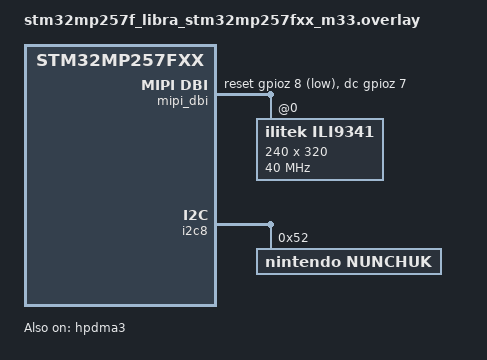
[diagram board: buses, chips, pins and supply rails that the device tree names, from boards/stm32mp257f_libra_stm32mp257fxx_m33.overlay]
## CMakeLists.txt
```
# SPDX-License-Identifier: Apache-2.0

cmake_minimum_required(VERSION 3.28.0)
find_package(Zephyr REQUIRED HINTS $ENV{ZEPHYR_BASE})
project(demo_display)

FILE(GLOB app_sources src/*.c)
target_sources(app PRIVATE ${app_sources})
```

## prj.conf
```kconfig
# --- Base ---
CONFIG_PICOLIBC=y
# CONFIG_LOG=y

# --- I2C + LED (PCA9633) ---
CONFIG_I2C=y
CONFIG_LED=y
CONFIG_PCA9633=y

# --- Écran SPI (ILI9341) + DMA ---
CONFIG_SPI=y
CONFIG_SPI_STM32_DMA=y
CONFIG_DMA_STM32U5=y
CONFIG_DISPLAY=y


# --- LVGL ---
CONFIG_LVGL=y
CONFIG_LV_USE_LABEL=y
CONFIG_LV_USE_BAR=y
CONFIG_LV_FONT_MONTSERRAT_20=y
CONFIG_LV_FONT_MONTSERRAT_18=y
CONFIG_LV_FONT_MONTSERRAT_14=y
CONFIG_LV_USE_BUTTON=y
CONFIG_LV_COLOR_16_SWAP=y

# --- LVGL piles ---
CONFIG_LV_Z_MEM_POOL_SIZE=32768
CONFIG_LV_Z_FLUSH_THREAD=y
CONFIG_LV_Z_FLUSH_THREAD_STACK_SIZE=8192
CONFIG_LV_Z_BITS_PER_PIXEL=16
CONFIG_LV_Z_DOUBLE_VDB=y
CONFIG_LV_Z_VDB_SIZE=8

# Piles élargies (nécessaire, sans ça crash silencieux avant boot)
CONFIG_MAIN_STACK_SIZE=8192
CONFIG_SYSTEM_WORKQUEUE_STACK_SIZE=8192
CONFIG_HW_STACK_PROTECTION=y
CONFIG_THREAD_STACK_INFO=y

# --- GPIO (fan) — à garder seulement si utilisé ---
CONFIG_GPIO=y

# --- Nunchuk ---
CONFIG_INPUT=y
CONFIG_INPUT_LOG_LEVEL_OFF=y
CONFIG_INPUT_NUNCHUK=y
CONFIG_INPUT_NUNCHUK_ACCELERATION=y

# CONFIG_THREAD_ANALYZER=y
# CONFIG_THREAD_ANALYZER_USE_PRINTK=y
# CONFIG_THREAD_ANALYZER_AUTO=y
```

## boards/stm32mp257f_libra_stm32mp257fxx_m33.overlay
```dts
/*
 * Copyright (C) 2025 PHYTEC Messtechnik GmbH
 * Authors: Hong-Ly Ky <h.ky@phytec.fr>
 *          Christophe Parant <c.parant@phytec.fr>
 *          Nicolas Raimundo <n.raimundo@phytec.fr>
 */
 
#include <zephyr/dt-bindings/display/panel.h>
#include <zephyr/dt-bindings/input/input-event-codes.h>
#include <zephyr/dt-bindings/dma/stm32_dma.h>



/ {
	aliases {
 		nunchuk0 = &nunchuk;

 	};
 	
 	chosen {
 		zephyr,display=&ili9341;
 	};
 	
	mipi_dbi {
		compatible = "zephyr,mipi-dbi-spi";
		dc-gpios = <&gpioz 7 GPIO_ACTIVE_HIGH>;
		reset-gpios = <&gpioz 8 GPIO_ACTIVE_LOW>;
		write-only;
		#address-cells = <1>;
		#size-cells = <0>;
		spi-dev = <&spi2>;

		ili9341: ili9341@0 {
		    compatible = "ilitek,ili9341";
		    mipi-max-frequency = <40000000>;
		    reg = <0>;
		    width = <240>;
		    height = <320>;
		    rotation = <180>;
		    pixel-format = <PANEL_PIXEL_FORMAT_RGB_565>;
		    h-mirror;
		};
	};
	
	soc {
	
		hpdma3: hpdma@40420000 {
			compatible = "st,stm32u5-dma";
			#dma-cells = <3>;
			reg = <0x40420000 0x1000>;
			clocks = <&rcc STM32_CLOCK(HPDMA3, 1)>;
			interrupts = <65 0>, <66 0>, <67 0>, <68 0>, <69 0>, <70 0>, <71 0>, <72 0>,
			<73 0>, <74 0>, <75 0>, <76 0>, <77 0>, <78 0>, <79 0>, <80 0>;
			dma-channels = <16>;
			dma-requests = <184>;
			status = "okay";
		};

	};
};

&i2c8 {
	nunchuk: joystick@52 {
		compatible = "nintendo,nunchuk";
		reg = <0x52>;
	};
};

&spi2 {
    dmas = <&hpdma3 0 51 (STM32_DMA_PERIPH_RX | STM32_DMA_PRIORITY_MEDIUM)>,
           <&hpdma3 1 52 (STM32_DMA_PERIPH_TX | STM32_DMA_PRIORITY_MEDIUM)>;
    dma-names = "rx", "tx";
};
```

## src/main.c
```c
#include "display.h"
#include <zephyr/kernel.h>

int main(){
    display();
}
 
```

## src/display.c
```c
#include <zephyr/logging/log.h>
LOG_MODULE_REGISTER(sample, LOG_LEVEL_INF);

#include <zephyr/kernel.h>
#include <zephyr/device.h>
#include <zephyr/drivers/display.h>
#include <zephyr/pm/device_runtime.h>
#include <zephyr/sys/byteorder.h>
#include <zephyr/drivers/led.h>

#include "display.h"
#include "nunchuk_2.h"
#include "show_hour.h"

static void nunchuk_pointer_read(lv_indev_t *indev, lv_indev_data_t *data);
static void start_btn_cb(lv_event_t *e);
static void scroll_left_cb(lv_event_t *e);
static void scroll_right_cb(lv_event_t *e);
static void hue_canvas_cb(lv_event_t *e);
static void edit_btn_cb(lv_event_t *e);
static void reboot_btn_cb(lv_event_t *e);

static const struct device *display_dev;
static const struct device *rgb;
static struct display_capabilities caps;
static struct cursor_position_t cursor_pos = {0,0,false,INIT_CURSOR_COLOR};
static struct state_button_t state_btn = {0,0};
static struct state_button_t previous_state_btn = {0,0};
static enum state_t state = INIT;
static enum state_t previous_state = SHOW_HOUR;

static lv_obj_t *hue_canvas;
static lv_color_t canvas_buf[BAR_W * BAR_H];

static lv_obj_t *screen;
static lv_obj_t *cursor;
static lv_indev_t *nunchuk_indev;
static lv_obj_t *left;
static lv_obj_t *right;

static lv_obj_t *page_init;
static lv_obj_t *page_hour;
static lv_obj_t *label_hour1;
static lv_obj_t *label_hour2;
static lv_obj_t *page_rgb;
static lv_obj_t *page_ctrl_a35;
static lv_obj_t *page_reboot;
static lv_obj_t *current_page;

int init_display(){
    display_dev = DEVICE_DT_GET(DT_CHOSEN(zephyr_display));

    if (!device_is_ready(display_dev)) {
        LOG_ERR("Device %s not found. Aborting sample.", display_dev->name);
        return 1;
    }

    display_get_capabilities(display_dev, &caps);
    init_i2c();
    return 0;
}

int init_i2c(){
    rgb = DEVICE_DT_GET(DT_ALIAS(rgb_led0));

    if (!device_is_ready(rgb)) {
        printk("PCA9633 not ready\n");
        return 1;
    }

    return 0;
}

int init_screen(){
    int check_display = init_display();

    if(check_display){
        return 1;
    }

    screen = lv_scr_act();
    lv_obj_clean(screen);
    reset_show_hour();

/// ----------- init cursor and nunchuk ------------
  
    static bool input_created = false;
    if(!input_created){
        cursor = lv_obj_create(screen);
        lv_obj_set_size(cursor,CURSOR_SIZE,CURSOR_SIZE);
        lv_obj_set_style_bg_color(cursor,lv_color_hex(cursor_pos.color),LV_PART_MAIN);
        lv_obj_set_style_translate_x(cursor,-CURSOR_SIZE/2,LV_PART_MAIN);
        lv_obj_set_style_translate_y(cursor,-CURSOR_SIZE/2,LV_PART_MAIN);
        lv_obj_clear_flag(cursor,LV_OBJ_FLAG_CLICKABLE);

        nunchuk_indev = lv_indev_create();
        lv_indev_set_type(nunchuk_indev,LV_INDEV_TYPE_POINTER);
        lv_indev_set_read_cb(nunchuk_indev,nunchuk_pointer_read);
        lv_indev_set_cursor(nunchuk_indev,cursor);

        input_created = true;
    }

/// ----------- init of page_init ------------

    page_init = lv_obj_create(screen);
    lv_obj_set_size(page_init, lv_pct(100), lv_pct(100));
    lv_obj_center(page_init);
    lv_obj_set_style_bg_opa(page_init, LV_OPA_TRANSP, LV_PART_MAIN);
    lv_obj_clear_flag(page_init, LV_OBJ_FLAG_SCROLLABLE);

    lv_obj_t *label_init1 = lv_label_create(page_init);
    lv_obj_t *label_init2 = lv_label_create(page_init);
    lv_obj_t *btn_init = lv_btn_create(page_init);

    lv_obj_set_style_text_font(label_init1,&lv_font_montserrat_18,LV_PART_MAIN);
    lv_label_set_text(label_init1,"PHYTEC FRANCE");
    lv_obj_align(label_init1,LV_ALIGN_CENTER,0,-50);

    lv_obj_set_style_text_font(label_init2,&lv_font_montserrat_14,LV_PART_MAIN);
    lv_label_set_text(label_init2,"with ZEPHYR");
    lv_obj_align(label_init2,LV_ALIGN_CENTER,0,-25);

    lv_obj_t *label_btn = lv_label_create(btn_init);
    lv_label_set_text(label_btn,"Start");
    lv_obj_center(label_btn);

    lv_obj_align(btn_init,LV_ALIGN_CENTER,BTN_START_X,BTN_START_Y);
    lv_obj_set_size(btn_init,BTN_START_LENGTH,BTN_START_WIDTH);
    lv_obj_set_style_bg_color(btn_init,lv_color_hex(BTN_COLOR),LV_PART_MAIN);
    lv_obj_add_event_cb(btn_init,start_btn_cb,LV_EVENT_CLICKED,NULL);

/// ----------- init of page_hour ------------

    page_hour = lv_obj_create(screen);
    lv_obj_set_size(page_hour, lv_pct(100), lv_pct(100));
    lv_obj_center(page_hour);
    lv_obj_set_style_bg_opa(page_hour, LV_OPA_TRANSP, LV_PART_MAIN);
    lv_obj_clear_flag(page_hour, LV_OBJ_FLAG_SCROLLABLE);

    label_hour1 = lv_label_create(page_hour);
    label_hour2 = lv_label_create(page_hour);

    lv_obj_set_style_text_font(label_hour1,&lv_font_montserrat_20,LV_PART_MAIN);
    lv_obj_set_style_text_font(label_hour2,&lv_font_montserrat_14,LV_PART_MAIN);

    lv_label_set_text(label_hour1,"HOUR");
    lv_label_set_text(label_hour2,"DAY");

    lv_obj_align(label_hour1,LV_ALIGN_CENTER,0,-75);
    lv_obj_align(label_hour2,LV_ALIGN_CENTER,0,-25);

    lv_obj_t *btn_edit = lv_btn_create(page_hour);

    lv_obj_t *label_btn_edit = lv_label_create(btn_edit);
    lv_label_set_text(label_btn_edit,"EDIT");
    lv_obj_center(label_btn_edit);

    lv_obj_align(btn_edit,LV_ALIGN_CENTER,BTN_START_X,BTN_START_Y);
    lv_obj_set_size(btn_edit,BTN_START_LENGTH,BTN_START_WIDTH);
    lv_obj_set_style_bg_color(btn_edit,lv_color_hex(BTN_COLOR),LV_PART_MAIN);
    lv_obj_add_event_cb(btn_edit,edit_btn_cb,LV_EVENT_CLICKED,NULL);

/// ----------- init of page_rgb ------------

    page_rgb = lv_obj_create(screen);
    lv_obj_set_size(page_rgb, lv_pct(100), lv_pct(100));
    lv_obj_center(page_rgb);
    lv_obj_set_style_bg_opa(page_rgb, LV_OPA_TRANSP, LV_PART_MAIN);
    lv_obj_clear_flag(page_rgb, LV_OBJ_FLAG_SCROLLABLE);

    lv_obj_t *label_rgb1 = lv_label_create(page_rgb);
    lv_obj_t *label_rgb2 = lv_label_create(page_rgb);

    lv_label_set_text(label_rgb1,"RGB LED I2C");
    lv_label_set_text(label_rgb2,"PICK-COLOR");

    lv_obj_align(label_rgb1,LV_ALIGN_CENTER,0,-50);
    lv_obj_align(label_rgb2,LV_ALIGN_CENTER,0,50);

    hue_canvas = lv_canvas_create(page_rgb);
    lv_canvas_set_buffer(hue_canvas,canvas_buf,BAR_W,BAR_H,LV_COLOR_FORMAT_RGB565);
    lv_obj_align(hue_canvas,LV_ALIGN_CENTER,0,0);
    lv_obj_add_flag(hue_canvas,LV_OBJ_FLAG_CLICKABLE);
    lv_obj_add_event_cb(hue_canvas,hue_canvas_cb,LV_EVENT_PRESSING,NULL);

    for(int x = 0; x < BAR_W; x++){
        uint16_t pos = (uint16_t)((uint32_t)x * 1536 / BAR_W);

        uint8_t r,g,b;
        hue_to_rgb(pos,&r,&g,&b);

        lv_color_t c = lv_color_make(r,g,b);

        for(int y = 0; y < BAR_H; y++){
            lv_canvas_set_px(hue_canvas,x,y,c,LV_OPA_COVER);
        }
    }

/// ----------- init of page_ctrl_a35 ------------

    page_ctrl_a35 = lv_obj_create(screen);
    lv_obj_set_size(page_ctrl_a35, lv_pct(100), lv_pct(100));
    lv_obj_center(page_ctrl_a35);
    lv_obj_set_style_bg_opa(page_ctrl_a35, LV_OPA_TRANSP, LV_PART_MAIN);
    lv_obj_clear_flag(page_ctrl_a35, LV_OBJ_FLAG_SCROLLABLE);

    lv_obj_t *label_ctrl_a35_1 = lv_label_create(page_ctrl_a35);
    lv_obj_t *label_ctrl_a35_2 = lv_label_create(page_ctrl_a35);

    lv_label_set_text(label_ctrl_a35_1,"A35");
    lv_label_set_text(label_ctrl_a35_2,"BOOT");

    lv_obj_align(label_ctrl_a35_1,LV_ALIGN_CENTER,0,-50);
    lv_obj_align(label_ctrl_a35_2,LV_ALIGN_CENTER,0,-25);

/// ----------- init of page_reboot ------------

    page_reboot = lv_obj_create(screen);
    lv_obj_set_size(page_reboot, lv_pct(100), lv_pct(100));
    lv_obj_center(page_reboot);
    lv_obj_set_style_bg_opa(page_reboot, LV_OPA_TRANSP, LV_PART_MAIN);
    lv_obj_clear_flag(page_reboot, LV_OBJ_FLAG_SCROLLABLE);

    lv_obj_t *label_ctrl_reboot1 = lv_label_create(page_reboot);
    lv_obj_t *label_ctrl_reboot2 = lv_label_create(page_reboot);
    lv_obj_t *btn_reboot = lv_btn_create(page_reboot);


    lv_label_set_text(label_ctrl_reboot1,"M33");
    lv_label_set_text(label_ctrl_reboot2,"REBOOT");

    lv_obj_align(label_ctrl_reboot1,LV_ALIGN_CENTER,0,-50);
    lv_obj_align(label_ctrl_reboot2,LV_ALIGN_CENTER,0,-25);

    lv_obj_t *label_btn_reboot = lv_label_create(btn_reboot);
    lv_label_set_text(label_btn_reboot,"REBOOT");
    lv_obj_center(label_btn_reboot);

    lv_obj_align(btn_reboot,LV_ALIGN_CENTER,BTN_START_X,BTN_START_Y);
    lv_obj_set_size(btn_reboot,BTN_START_LENGTH,BTN_START_WIDTH);
    lv_obj_set_style_bg_color(btn_reboot,lv_color_hex(BTN_COLOR),LV_PART_MAIN);
    lv_obj_add_event_cb(btn_reboot,reboot_btn_cb,LV_EVENT_CLICKED,NULL);

/// ----------- init scroll ------------

    left = lv_btn_create(screen);
    lv_obj_t *label_left = lv_label_create(left);
    lv_label_set_text(label_left,"<");
    lv_obj_center(label_left);
    lv_obj_align(left,LV_ALIGN_CENTER,(-caps.x_resolution+BTN_SCROLL_SIZE+BTN_SCROLL_BORDER_SIZE)/2,(caps.y_resolution-BTN_SCROLL_SIZE-BTN_SCROLL_BORDER_SIZE)/2);
    lv_obj_set_size(left,BTN_SCROLL_SIZE,BTN_SCROLL_SIZE);
    lv_obj_set_style_bg_color(left,lv_color_hex(BTN_COLOR),LV_PART_MAIN);
    lv_obj_add_event_cb(left,scroll_left_cb,LV_EVENT_CLICKED,NULL);

    right = lv_btn_create(screen);
    lv_obj_t *label_right = lv_label_create(right);
    lv_label_set_text(label_right,">");
    lv_obj_center(label_right);
    lv_obj_align(right,LV_ALIGN_CENTER,(caps.x_resolution-BTN_SCROLL_SIZE-BTN_SCROLL_BORDER_SIZE)/2,(caps.y_resolution-BTN_SCROLL_SIZE-BTN_SCROLL_BORDER_SIZE)/2);
    lv_obj_set_size(right,BTN_SCROLL_SIZE,BTN_SCROLL_SIZE);
    lv_obj_set_style_bg_color(right,lv_color_hex(BTN_COLOR),LV_PART_MAIN);
    lv_obj_add_event_cb(right,scroll_right_cb,LV_EVENT_CLICKED,NULL);

/// ----------- hiding all widgets ------------

    lv_obj_add_flag(page_hour, LV_OBJ_FLAG_HIDDEN);
    lv_obj_add_flag(page_rgb, LV_OBJ_FLAG_HIDDEN);
    lv_obj_add_flag(page_ctrl_a35, LV_OBJ_FLAG_HIDDEN);
    lv_obj_add_flag(page_reboot, LV_OBJ_FLAG_HIDDEN);
    lv_obj_add_flag(left, LV_OBJ_FLAG_HIDDEN);
    lv_obj_add_flag(right, LV_OBJ_FLAG_HIDDEN);


    current_page=page_init;

    lv_obj_move_foreground(cursor);

/// ----------- end of init ------------

    display_clear(display_dev);
    lv_timer_handler();
    display_blanking_off(display_dev);

    return 0;
}

static void set_active_page(lv_obj_t *new_page){
    int64_t t0 = k_uptime_get();

    if (current_page) {
        lv_obj_add_flag(current_page, LV_OBJ_FLAG_HIDDEN);
    }
    lv_obj_clear_flag(new_page, LV_OBJ_FLAG_HIDDEN);

    current_page = new_page;

    if (new_page == page_init) {
        lv_obj_add_flag(left, LV_OBJ_FLAG_HIDDEN);
        lv_obj_add_flag(right, LV_OBJ_FLAG_HIDDEN);
    } else {
        lv_obj_clear_flag(left, LV_OBJ_FLAG_HIDDEN);
        lv_obj_clear_flag(right, LV_OBJ_FLAG_HIDDEN);
    }


    lv_obj_move_foreground(cursor);
    lv_timer_handler();
    printk("time_handler %lld ms\n", k_uptime_get() - t0);

}

void set_i2c_rgb_led(int screen_x){

    lv_area_t area;
    lv_obj_get_coords(hue_canvas,&area);

    int x = screen_x - area.x1;

    if(x < 0){
        x = 0;
    }

    if(x >= BAR_W){
        x = BAR_W - 1;
    }

    uint16_t pos_x = (uint16_t)(((uint32_t)x * 1536) / BAR_W);

    uint8_t r,g,b;
    hue_to_rgb(pos_x,&r,&g,&b);

    led_set_brightness(rgb,RED_LED,r/2.55);
    led_set_brightness(rgb,GREEN_LED,g/2.55);
    led_set_brightness(rgb,BLUE_LED,b/2.55);

}

void fill_hue_bar(uint16_t *buf,int width,int height){
    for(int x = 0; x < width; x++){
        uint16_t pos = (uint16_t)((uint32_t)x * 1536 / width);

        uint8_t r,g,b;
        hue_to_rgb(pos,&r,&g,&b);

        uint16_t color565 = ((r & 0xF8) << 8) | ((g & 0xFC) << 3) | (b >> 3);

        for(int y = 0; y < height; y++){
            buf[y*width+x] = color565;
        }
    }
}

void hue_to_rgb(uint16_t pos,uint8_t *r,uint8_t *g,uint8_t *b){
    uint16_t segment = pos / 256;
    uint8_t step = pos % 256;

    switch(segment){
        case 0: *r = 255;     *g = step;      *b = 0;        break;
        case 1: *r = 255-step;*g = 255;       *b = 0;        break;
        case 2: *r = 0;       *g = 255;       *b = step;     break;
        case 3: *r = 0;       *g = 255-step;  *b = 255;      break;
        case 4: *r = step;    *g = 0;         *b = 255;      break;
        case 5: *r = 255;     *g = 0;         *b = 255-step; break;
    }
}

void update_cursor_position(struct cursor_position_t *actual_pos){

    struct nunchuk_data_t actual_nunchuk = read_nunchuk();

    if(actual_pos->gyro){
        if(!(MIN_DEADZONE_ACCELEROMETER<actual_nunchuk.accel_x && actual_nunchuk.accel_x<=MAX_DEADZONE_ACCELEROMETER)){
            actual_pos->x += (actual_nunchuk.accel_x-ZEROING_POS_ACC)/RESCALING_ACCELEROMETER;
        }

        if(!(MIN_DEADZONE_ACCELEROMETER<actual_nunchuk.accel_y && actual_nunchuk.accel_y<=MAX_DEADZONE_ACCELEROMETER)){
            actual_pos->y -= (actual_nunchuk.accel_y-ZEROING_POS_ACC)/RESCALING_ACCELEROMETER;
        }
    }else{
        if(!(MIN_DEADZONE_JOYSTICK<actual_nunchuk.joystick_x && actual_nunchuk.joystick_x<=MAX_DEADZONE_JOYSTICK)){
            actual_pos->x += (actual_nunchuk.joystick_x-ZEROING_POS)/RESCALING_JOYSTICK;
        }

        if(!(MIN_DEADZONE_JOYSTICK<actual_nunchuk.joystick_y && actual_nunchuk.joystick_y<=MAX_DEADZONE_JOYSTICK)){
            actual_pos->y -= (actual_nunchuk.joystick_y-ZEROING_POS)/RESCALING_JOYSTICK;
        }
    }

    if(actual_pos->x < -caps.x_resolution/2){
        actual_pos->x = -caps.x_resolution/2;
    }else if(actual_pos->x >= caps.x_resolution/2){
        actual_pos->x = caps.x_resolution/2-1;
    }

    if(actual_pos->y < -caps.y_resolution/2){
        actual_pos->y = -caps.y_resolution/2;
    }else if(actual_pos->y >= caps.y_resolution/2){
        actual_pos->y = caps.y_resolution/2-1;
    }

    state_btn = (struct state_button_t){
        .c = actual_nunchuk.btn_c,
        .z = actual_nunchuk.btn_z
    };

    if(state_btn.c && !previous_state_btn.c){
        actual_pos->gyro = !actual_pos->gyro;
        actual_pos->color = actual_pos->color ^ SWITCH_CURSOR_COLOR;
        lv_obj_set_style_bg_color(cursor, lv_color_hex(actual_pos->color), LV_PART_MAIN);
    }
    previous_state_btn = state_btn;
}

static void nunchuk_pointer_read(lv_indev_t *indev,lv_indev_data_t *data){
    data->point.x = cursor_pos.x + caps.x_resolution/2;
    data->point.y = cursor_pos.y + caps.y_resolution/2;
    data->state = state_btn.z ? LV_INDEV_STATE_PRESSED : LV_INDEV_STATE_RELEASED;
}

bool checkEntry(){
    if(state==previous_state){
        return false;
    }else{
        return true;
    }
}

int display(){
    static int64_t time_now;
    static int64_t time_start;
    static bool entry = true;
    static bool time_defined = false;
    static bool time_started = false;
    while(1){
        time_now = k_uptime_get();
        entry = checkEntry();
        previous_state = state;

        switch(state){
            case INIT:
                if(entry){
                    if(init_screen()){
                        return 1;
                    }
                    set_active_page(page_init);
                }
            break;

            case SHOW_HOUR_INIT:
                if(entry){
                    printk("hehe");
                    time_defined=false;
                    time_started=false;
                    lv_obj_add_flag(left, LV_OBJ_FLAG_HIDDEN);
                    lv_obj_add_flag(right, LV_OBJ_FLAG_HIDDEN);
                    init_info_show_hour(screen,current_page,&time_defined);
                }
                if(time_defined){
                    state=SHOW_HOUR;
                }
            break;

            case SHOW_HOUR:
                if(entry){
                    set_active_page(page_hour);
                }
            break;

            case RGB_LED:
                if(entry){
                    set_active_page(page_rgb);
                }
            break;

            case CTRL_A35:
                if(entry){
                    set_active_page(page_ctrl_a35);
                }
            break;

            case REBOOT_M33:
                if(entry){
                    set_active_page(page_reboot);
                }
            break;

            default:
            break;
            
        }

        if(time_defined && !time_started){
            time_start = time_now;
            time_started = true;
            set_show_hour(label_hour1,label_hour2);
        }

        if(time_defined && time_now-time_start>=60000){
            update_show_hour(label_hour1,label_hour2);
            time_start = time_now;
        }
        update_cursor_position(&cursor_pos);
        lv_timer_handler();        

        k_msleep(5);
    }
}

static void start_btn_cb(lv_event_t *e){
    state = SHOW_HOUR_INIT;
}

static void reboot_btn_cb(lv_event_t *e){
    state = INIT;
}

static void edit_btn_cb(lv_event_t *e){
    state = SHOW_HOUR_INIT;
}

static void scroll_left_cb(lv_event_t *e){
    switch(state){
        case SHOW_HOUR: state = REBOOT_M33; break;
        case RGB_LED:   state = SHOW_HOUR;  break;
        case CTRL_A35:  state = RGB_LED;    break;
        case REBOOT_M33:state = CTRL_A35;   break;
        default: break;
    }
}

static void scroll_right_cb(lv_event_t *e){
    switch(state){
        case SHOW_HOUR: state = RGB_LED;    break;
        case RGB_LED:   state = CTRL_A35;   break;
        case CTRL_A35:  state = REBOOT_M33; break;
        case REBOOT_M33:state = SHOW_HOUR;  break;
        default: break;
    }
}

static void hue_canvas_cb(lv_event_t *e){
    lv_point_t p;
    lv_indev_t *indev = lv_indev_active();

    if(indev == NULL){
        return;
    }

    lv_indev_get_point(indev,&p);
    set_i2c_rgb_led(p.x);
}
```

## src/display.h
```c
#include <zephyr/kernel.h>

#include <lvgl.h>

#define MIN_DEADZONE_JOYSTICK 110
#define MAX_DEADZONE_JOYSTICK 140

#define MIN_DEADZONE_ACCELEROMETER 448
#define MAX_DEADZONE_ACCELEROMETER 576

#define ZEROING_POS 130
#define ZEROING_POS_ACC 512
#define RESCALING_JOYSTICK 24
#define RESCALING_ACCELEROMETER 32

#define CURSOR_SIZE 10
#define BTN_START_X 0
#define BTN_START_Y 25
#define BTN_START_WIDTH 50
#define BTN_START_LENGTH 100
#define BTN_SCROLL_SIZE 50
#define BTN_SCROLL_BORDER_SIZE 5

#define BTN_COLOR 0x0000FF 
#define INIT_CURSOR_COLOR 0xFF0010
#define BTN_PRESSED_COLOR 0xBA0000
#define SWITCH_CURSOR_COLOR 0xFFFF00

#define BAR_W 180
#define BAR_H 60

#define RED_LED   0
#define GREEN_LED 1
#define BLUE_LED  2

struct cursor_position_t {
    int x;
    int y;
    bool gyro;
    uint32_t color;
};

struct state_button_t {
    bool c;
    bool z;
};

enum state_t {
    INIT,
    SHOW_HOUR,
    SHOW_HOUR_INIT,
    RGB_LED,
    CTRL_A35,
    REBOOT_M33
};

int display(void);
int init_screen(void);
int init_i2c(void);
bool checkEntry(void);

void update_cursor_position(struct cursor_position_t *actual_pos);
void hue_to_rgb(uint16_t pos, uint8_t *r, uint8_t *g, uint8_t *b);
```

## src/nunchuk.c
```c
// #include <zephyr/kernel.h>
// #include <zephyr/device.h>
// #include <zephyr/input/input_nunchuk.h>
// #include <zephyr/drivers/i2c.h>

// #include "nunchuk.h"

// const struct device *i2c_bus = DEVICE_DT_GET(DT_NODELABEL(i2c8));

// bool init_nunchuk(){
//     uint8_t init_seq_1[2] = {0xf0, 0x55};
//     uint8_t init_seq_2[2] = {0xfb, 0x00};
//     int ret;

//     if (!device_is_ready(i2c_bus)) {
//         printk("Device i2c not found. Aborting sample.");
//         return false;
//     }

//     if (!device_is_ready(i2c_bus)) {
//         printk("Device i2c not found. Aborting sample.");
//         return false;
//     }

//     ret = i2c_write(i2c_bus, init_seq_1, sizeof(init_seq_1), NUNCHUK_ADRESS);
//     if (ret < 0) {
//         printk("I2C write failed.\n");
//         return false;
//     }

//     k_msleep(1);

//     ret = i2c_write(i2c_bus, init_seq_2, sizeof(init_seq_2), NUNCHUK_ADRESS);
//     if (ret < 0) {
//         printk("I2C write failed.\n");
//         return false;
//     }
//     printk("Init OK");
//     return true;
// }

// struct nunchuk_data_t read_nunchuk(){
//     uint8_t value = 0;
//     uint8_t buffer[6];
//     bool z_pressed;
//     bool c_pressed;
//     struct nunchuk_data_t nunchuk_input;

//     i2c_write(i2c_bus, &value, 1, NUNCHUK_ADRESS);

//     k_msleep(10);

//     i2c_read(i2c_bus, buffer, 6, NUNCHUK_ADRESS);

//     z_pressed = buffer[INPUT_NUNCHUK_BTN_C_Z] & 1;
//     c_pressed = buffer[INPUT_NUNCHUK_BTN_C_Z] & 2;

//     // printk("Z : %d\n", z_pressed);
//     // printk("C : %d\n", c_pressed);
//     // printk("X joystick: %d\n",buffer[INPUT_NUNCHUK_STICK_X]);
//     // printk("Y joystick: %d\n\n",buffer[INPUT_NUNCHUK_STICK_Y]);
//     // printk("ACC X: %d\n\n",buffer[INPUT_NUNCHUK_ACC_X]);
//     // printk("ACC Y: %d\n\n",buffer[INPUT_NUNCHUK_ACC_Y]);
//     // printk("ACC Z: %d\n\n",buffer[INPUT_NUNCHUK_ACC_Z]);

//     nunchuk_input.joystick_x = buffer[INPUT_NUNCHUK_STICK_X];
//     nunchuk_input.joystick_y = buffer[INPUT_NUNCHUK_STICK_Y];
//     nunchuk_input.accel_x = buffer[INPUT_NUNCHUK_ACC_X];
//     nunchuk_input.accel_y = buffer[INPUT_NUNCHUK_ACC_Y];
//     nunchuk_input.accel_z = buffer[INPUT_NUNCHUK_ACC_Z];
//     nunchuk_input.btn_c = c_pressed;
//     nunchuk_input.btn_z = z_pressed;

//     return nunchuk_input;
// }
```

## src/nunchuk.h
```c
// #include <zephyr/kernel.h>

// #define INPUT_NUNCHUK_STICK_X 0
// #define INPUT_NUNCHUK_STICK_Y 1
// #define INPUT_NUNCHUK_ACC_X 2
// #define INPUT_NUNCHUK_ACC_Y 3
// #define INPUT_NUNCHUK_ACC_Z 4
// #define INPUT_NUNCHUK_BTN_C_Z 5

// #define NUNCHUK_ADRESS 0x52

// struct nunchuk_data_t {
//     uint8_t joystick_x;
//     uint8_t joystick_y;
//     uint8_t accel_x;
//     uint8_t accel_y;
//     uint8_t accel_z;
//     bool btn_c;
//     bool btn_z;
// };

// struct nunchuk_data_t read_nunchuk(void);
// bool init_nunchuk(void);
```

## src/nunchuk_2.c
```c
#include <zephyr/kernel.h>
#include <zephyr/device.h>
#include <zephyr/input/input.h>
#include <zephyr/input/input_nunchuk.h>

#include "nunchuk_2.h"

static struct nunchuk_data_t nunchuk_state = {130,130,512,512,512,false,false};

static void nunchuk_input_cb(struct input_event *evt, void *user_data)
{
    switch (evt->type) {
    case INPUT_EV_ABS:
        if (evt->code == INPUT_ABS_X) {
            nunchuk_state.joystick_x = evt->value;
        } else if (evt->code == INPUT_ABS_Y) {
            nunchuk_state.joystick_y = evt->value;
        }
        break;

    case INPUT_EV_KEY:
        if (evt->code == INPUT_KEY_Z_NUNCHUK) {
            nunchuk_state.btn_z = evt->value;   
        } else if (evt->code == INPUT_KEY_C_NUNCHUK) {
            nunchuk_state.btn_c = evt->value;
        }
        break;

    case INPUT_EV_DEVICE:
        if (evt->code == INPUT_NUNCHUK_ACCEL_X) {
            nunchuk_state.accel_x = evt->value;
        } else if (evt->code == INPUT_NUNCHUK_ACCEL_Y) {
            nunchuk_state.accel_y = evt->value;
        } else if (evt->code == INPUT_NUNCHUK_ACCEL_Z) {
            nunchuk_state.accel_z = evt->value;
        }
        break;

    default:
        break;
    }
}

INPUT_CALLBACK_DEFINE(DEVICE_DT_GET(DT_ALIAS(nunchuk0)), nunchuk_input_cb, NULL);

struct nunchuk_data_t read_nunchuk(void)
{
    return nunchuk_state;
}
```

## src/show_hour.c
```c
#include "show_hour.h"

static lv_obj_t *page_init_show_hour;

static lv_obj_t * roller_day ;
static lv_obj_t * roller_mounth ;
static lv_obj_t * roller_year;
static lv_obj_t * roller_hour;
static lv_obj_t * roller_minute;

static int day;
static enum mounth_t mounth;
static int year;
static int hour;
static int minute;

static bool check_init=false;

static void set_day_roller_options(lv_obj_t *roller, int nb_days);
static int days_in_month(int month, int year);
static void event_cb(lv_event_t * e);

static void event_cb(lv_event_t *e){
    
    int month = lv_roller_get_selected(roller_mounth) + 1;
    int year = lv_roller_get_selected(roller_year) + 1950;
    int old_day = lv_roller_get_selected(roller_day) + 1;
    int nb_days = days_in_month(month,year);

    if(old_day > nb_days){
        old_day = nb_days;
    }
    set_day_roller_options(roller_day,nb_days);
    lv_roller_set_selected(roller_day,old_day - 1,false);
}

static int days_in_month(int month /* 1-12 */, int year){
    static const int days[] = {31,28,31,30,31,30,31,31,30,31,30,31};
    if (month == 2 && (year % 4 == 0 && (year % 100 != 0 || year % 400 == 0))) {
        return 29; // année bissextile
    }
    return days[month - 1];
}

static void set_day_roller_options(lv_obj_t *roller, int nb_days){
    char buf[128];
    size_t offset = 0;

    for (int i = 1; i <= nb_days; i++) {
        offset += snprintf(buf + offset, sizeof(buf) - offset,
                            "%d%s", i, (i < nb_days) ? "\n" : "");
    }

    lv_roller_set_options(roller, buf, LV_ROLLER_MODE_NORMAL);
}

static void init_date_hour_cb(lv_event_t *e){

    bool *initialized = lv_event_get_user_data(e);

    day=lv_roller_get_selected(roller_day)+1;
    mounth=lv_roller_get_selected(roller_mounth);
    year=lv_roller_get_selected(roller_year)+1950;
    hour=lv_roller_get_selected(roller_hour);
    minute=lv_roller_get_selected(roller_minute);
    *initialized=true;

    lv_obj_add_flag(page_init_show_hour, LV_OBJ_FLAG_HIDDEN);
}

void init_info_show_hour(lv_obj_t *screen,lv_obj_t *current_page,bool *initialized){

    if(!check_init){
        lv_obj_t * scr = screen;

        page_init_show_hour = lv_obj_create(scr);
        lv_obj_set_size(page_init_show_hour, lv_pct(100), lv_pct(100));
        lv_obj_center(page_init_show_hour);
        lv_obj_set_style_bg_opa(page_init_show_hour, LV_OPA_TRANSP, LV_PART_MAIN);
        lv_obj_clear_flag(page_init_show_hour, LV_OBJ_FLAG_SCROLLABLE);

        roller_day = lv_roller_create(page_init_show_hour);

        char buf_day[128];
        size_t offset_day = 0;
        for (int i = 1; i <= 31; i++) {
            offset_day += snprintf(buf_day + offset_day, sizeof(buf_day) - offset_day,
                                "%d%s", i, (i < 31) ? "\n" : "");
        }
        lv_roller_set_options(roller_day, buf_day, LV_ROLLER_MODE_NORMAL);
        lv_roller_set_visible_row_count(roller_day, 3);
        lv_obj_align(roller_day,LV_ALIGN_CENTER,-80,-50);

        roller_mounth = lv_roller_create(page_init_show_hour);
        lv_obj_set_width(roller_mounth, 100);
        lv_roller_set_options(roller_mounth, "JANUARY\nFEBRUARY\nMARCH\nAPRIL\nMAY\nJUNE\nJULY\nAUGUST\nSEPTEMBER\nOCTOBER\nNOVEMBER\nDECEMBER", LV_ROLLER_MODE_NORMAL);
        lv_roller_set_visible_row_count(roller_mounth, 3);
        lv_obj_add_event_cb(roller_mounth, event_cb, LV_EVENT_VALUE_CHANGED, NULL);
        lv_obj_align(roller_mounth,LV_ALIGN_CENTER,-5,-50);


        roller_year = lv_roller_create(page_init_show_hour);
        char buf_year[600];
        size_t offset_year = 0;
        for (int i = 1950; i <= 2050; i++) {
            offset_year += snprintf(buf_year + offset_year, sizeof(buf_year) - offset_year,
                                "%d%s", i, (i < 2050) ? "\n" : "");
        }
        lv_roller_set_options(roller_year, buf_year, LV_ROLLER_MODE_NORMAL);
        lv_roller_set_visible_row_count(roller_year, 3);
        lv_obj_add_event_cb(roller_year, event_cb, LV_EVENT_VALUE_CHANGED, NULL);
        lv_obj_align(roller_year,LV_ALIGN_CENTER,80,-50);
        lv_roller_set_selected(roller_year, 75, false);


        roller_hour = lv_roller_create(page_init_show_hour);
        char buf_hour[72];
        size_t offset_hour = 0;
        for (int i = 0; i <= 23; i++) {
            offset_hour += snprintf(buf_hour + offset_hour, sizeof(buf_hour) - offset_hour,
                                "%d%s", i, (i < 23) ? "\n" : "");
        }
        lv_roller_set_options(roller_hour, buf_hour, LV_ROLLER_MODE_INFINITE);
        lv_roller_set_visible_row_count(roller_hour, 3);
        lv_obj_align(roller_hour,LV_ALIGN_CENTER,-30,50);

        roller_minute = lv_roller_create(page_init_show_hour);
        char buf_minute[240];
        size_t offset_minute = 0;
        for (int i = 0; i <= 59; i++) {
            offset_minute += snprintf(buf_minute + offset_minute, sizeof(buf_minute) - offset_minute,
                                "%d%s", i, (i < 59) ? "\n" : "");
        }
        lv_roller_set_options(roller_minute, buf_minute, LV_ROLLER_MODE_INFINITE);
        lv_roller_set_visible_row_count(roller_minute, 3);
        lv_obj_align(roller_minute,LV_ALIGN_CENTER,30,50);


        lv_obj_t *label_sep = lv_label_create(page_init_show_hour);
        lv_obj_t *btn_init = lv_btn_create(page_init_show_hour);

        lv_obj_set_style_text_font(label_sep,&lv_font_montserrat_18,LV_PART_MAIN);
        lv_label_set_text(label_sep,":");
        lv_obj_align(label_sep,LV_ALIGN_CENTER,0,50);

        lv_obj_t *label_btn = lv_label_create(btn_init);
        lv_label_set_text(label_btn,"Enter");
        lv_obj_center(label_btn);

        lv_obj_align(btn_init,LV_ALIGN_CENTER,0,120);
        lv_obj_set_size(btn_init,150,30);
        lv_obj_set_style_bg_color(btn_init,lv_color_hex(BTN_COLOR),LV_PART_MAIN);
        lv_obj_add_event_cb(btn_init,init_date_hour_cb,LV_EVENT_CLICKED,initialized);


        lv_obj_t *label_title = lv_label_create(page_init_show_hour);
        lv_obj_set_style_text_font(label_title,&lv_font_montserrat_20,LV_PART_MAIN);
        lv_label_set_text(label_title,"SELECT HOUR DAY");
        lv_obj_align(label_title,LV_ALIGN_CENTER,0,-125);

        check_init = true;
    }
    
    lv_obj_clear_flag(page_init_show_hour, LV_OBJ_FLAG_HIDDEN);
    lv_obj_add_flag(current_page, LV_OBJ_FLAG_HIDDEN);

}

void update_show_hour(lv_obj_t *hour_label,lv_obj_t *date_label){
    minute++;

    if(minute >= 60){
        minute = 0;
        hour++;

        if(hour >= 24){
            hour = 0;
            day++;

            if(day > days_in_month(mounth + 1,year)){
                day = 1;

                if(mounth == DECEMBER){
                    mounth = JANUARY;
                    year++;
                }else{
                    mounth++;
                }
            }
        }
    }

    set_show_hour(hour_label,date_label);
}

void set_show_hour(lv_obj_t *hour_label,lv_obj_t *date_label){
    static const char *month_names[] = {
        "JANUARY",
        "FEBRUARY",
        "MARCH",
        "APRIL",
        "MAY",
        "JUNE",
        "JULY",
        "AUGUST",
        "SEPTEMBER",
        "OCTOBER",
        "NOVEMBER",
        "DECEMBER"
    };

    lv_label_set_text_fmt(hour_label,"%02d:%02d",hour,minute);
    lv_label_set_text_fmt(date_label,"%d %s %d",day,month_names[mounth],year);
}

void reset_show_hour(void){
    check_init = false;
    page_init_show_hour = NULL;
    roller_day = NULL;
    roller_mounth = NULL;
    roller_year = NULL;
    roller_hour = NULL;
    roller_minute = NULL;
}
```

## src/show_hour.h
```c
#include <zephyr/kernel.h>
#include <lvgl.h>

#define BTN_COLOR 0x0000FF 

enum mounth_t {
    JANUARY,
    FEBRUARY,
    MARCH,
    APRIL,
    MAY,
    JUNE,
    JULY,
    AUGUST,
    SEPTEMBER,
    OCTOBER,
    NOVEMBER,
    DECEMBER
};

struct state_show_hour_t {
    int day;
    enum mounth_t mounth;
    int year;
    int hour;
    int minute;
};

void init_info_show_hour(lv_obj_t *screen,lv_obj_t *page_init,bool *initialized);
void update_show_hour(lv_obj_t *hour_label,lv_obj_t *date_label);
void set_show_hour(lv_obj_t *hour_label,lv_obj_t *date_label);
void reset_show_hour(void);
```
